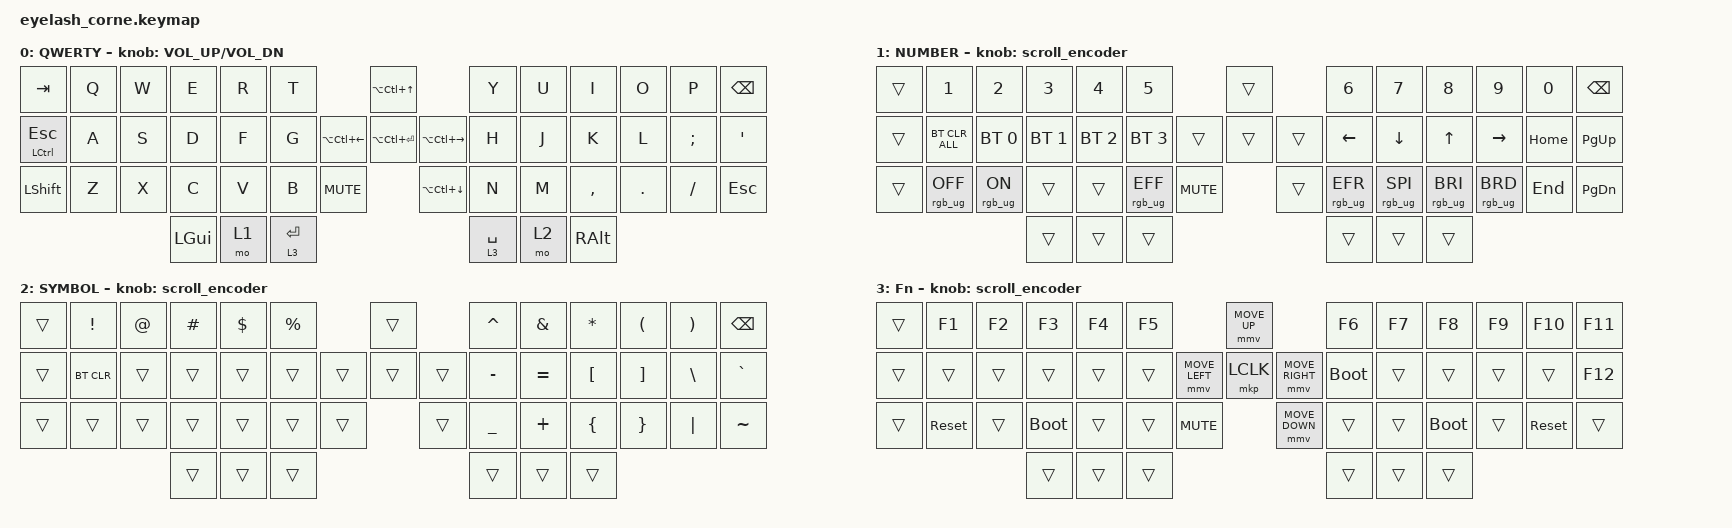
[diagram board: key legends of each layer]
#define ZMK_POINTING_DEFAULT_MOVE_VAL 1200  // 600
#define ZMK_POINTING_DEFAULT_SCRL_VAL 25   // 10

#include <input/processors.dtsi>
#include <zephyr/dt-bindings/input/input-event-codes.h>
#include <behaviors.dtsi>
#include <dt-bindings/zmk/bt.h>
#include <dt-bindings/zmk/keys.h>
#include <dt-bindings/zmk/pointing.h>
#include <dt-bindings/zmk/rgb.h>

&mmv_input_listener { input-processors = <&zip_xy_scaler 2 1>; };

&msc_input_listener { input-processors = <&zip_scroll_scaler 2 1>; };

&msc {
    acceleration-exponent = <1>;      // 0
    time-to-max-speed-ms = <100>;       // 300
    delay-ms = <0>;                   // 0
};

&mmv {
    time-to-max-speed-ms = <500>;
    acceleration-exponent = <1>;
    trigger-period-ms = <16>;
};

&soft_off { hold-time-ms = <2000>; };

/ {
    behaviors {
        td0: td0 {
            compatible = "zmk,behavior-tap-dance";
            display-name = "Shift/Caps Lock Tap Dance";
            #binding-cells = <0>;
            bindings = <&kp LEFT_SHIFT>, <&kp CAPS>;
        };
    };

    rgb_encoder: rgb_encoder {
        compatible = "zmk,behavior-sensor-rotate";
        #sensor-binding-cells = <0>;
        bindings = <&rgb_ug RGB_BRI>, <&rgb_ug RGB_BRD>;
    };

    scroll_encoder: scroll_encoder {
        compatible = "zmk,behavior-sensor-rotate";
        #sensor-binding-cells = <0>;
        bindings = <&msc SCRL_DOWN>, <&msc SCRL_UP>;

        tap-ms = <100>;
    };

    combos {
        compatible = "zmk,combos";

        softoff {
            bindings = <&soft_off>;
            key-positions = <1 15 29>;
        };
    };

    keymap {
        compatible = "zmk,keymap";

        default_layer {
            display-name = "QWERTY";
            bindings = <
&kp TAB           &kp Q  &kp W  &kp E     &kp R  &kp T                                        &kp LA(LC(UP_ARROW))                     &kp Y        &kp U  &kp I      &kp O    &kp P     &kp BSPC
&mt LCTRL ESCAPE  &kp A  &kp S  &kp D     &kp F  &kp G                      &kp LA(LC(LEFT))  &kp LA(LC(ENTER))     &kp LA(LC(RIGHT))  &kp H        &kp J  &kp K      &kp L    &kp SEMI  &kp SQT
&kp LEFT_SHIFT    &kp Z  &kp X  &kp C     &kp V  &kp B        &kp K_MUTE                      &kp LA(LC(DOWN))                         &kp N        &kp M  &kp COMMA  &kp DOT  &kp FSLH  &kp ESC
                                &kp LGUI  &mo 1  &lt 3 ENTER                                                                           &lt 3 SPACE  &mo 2  &kp RALT
            >;

            sensor-bindings = <&inc_dec_kp C_VOLUME_UP C_VOL_DN>;
        };

        lower_layer {
            display-name = "NUMBER";
            bindings = <
&trans  &kp N1           &kp N2          &kp N3        &kp N4        &kp N5                                 &trans          &kp N6           &kp N7           &kp N8           &kp N9           &kp N0    &kp BSPC
&trans  &bt BT_CLR_ALL   &bt BT_SEL 0    &bt BT_SEL 1  &bt BT_SEL 2  &bt BT_SEL 3                   &trans  &trans  &trans  &kp LEFT         &kp DOWN         &kp UP           &kp RIGHT        &kp HOME  &kp PG_UP
&trans  &rgb_ug RGB_OFF  &rgb_ug RGB_ON  &trans        &trans        &rgb_ug RGB_EFF  &kp C_MUTE            &trans          &rgb_ug RGB_EFR  &rgb_ug RGB_SPI  &rgb_ug RGB_BRI  &rgb_ug RGB_BRD  &kp END   &kp PG_DN
                                         &trans        &trans        &trans                                                 &trans           &trans           &trans
            >;

            sensor-bindings = <&scroll_encoder>;
        };

        raise_layer {
            display-name = "SYMBOL";
            bindings = <
&trans  &kp EXCL    &kp AT  &kp HASH  &kp DLLR  &kp PRCNT                    &trans          &kp CARET  &kp AMPS   &kp ASTRK  &kp LPAR  &kp RPAR  &kp BSPC
&trans  &bt BT_CLR  &trans  &trans    &trans    &trans               &trans  &trans  &trans  &kp MINUS  &kp EQUAL  &kp LBKT   &kp RBKT  &kp BSLH  &kp GRAVE
&trans  &trans      &trans  &trans    &trans    &trans     &trans            &trans          &kp UNDER  &kp PLUS   &kp LBRC   &kp RBRC  &kp PIPE  &kp TILDE
                            &trans    &trans    &trans                                       &trans     &trans     &trans
            >;

            sensor-bindings = <&scroll_encoder>;
        };

        layer_3 {
            display-name = "Fn";
            bindings = <
&trans  &kp F1      &kp F2  &kp F3       &kp F4  &kp F5                                &mmv MOVE_UP                     &kp F6       &kp F7  &kp F8       &kp F9  &kp F10     &kp F11
&trans  &trans      &trans  &trans       &trans  &trans                &mmv MOVE_LEFT  &mkp LCLK       &mmv MOVE_RIGHT  &bootloader  &trans  &trans       &trans  &trans      &kp F12
&trans  &sys_reset  &trans  &bootloader  &trans  &trans  &kp C_MUTE                    &mmv MOVE_DOWN                   &trans       &trans  &bootloader  &trans  &sys_reset  &trans
                            &trans       &trans  &trans                                                                 &trans       &trans  &trans
            >;

            sensor-bindings = <&scroll_encoder>;
        };
    };
};
